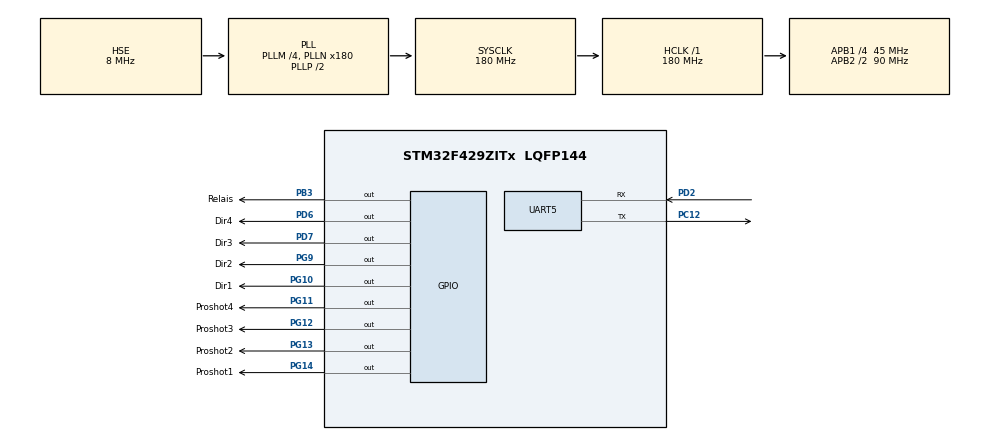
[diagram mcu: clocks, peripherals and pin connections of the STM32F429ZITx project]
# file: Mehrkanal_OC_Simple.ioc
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Mcu.Family=STM32F4
Mcu.Name=STM32F429ZITx
Mcu.Package=LQFP144
NVIC.PriorityGroup=NVIC_PRIORITYGROUP_4
NVIC.UART5_IRQn=true\:0\:0\:false\:false\:true\:true\:true\:true
PB3.GPIO_Label=Relais
PB3.Signal=GPIO_Output
PC12.Mode=Asynchronous
PC12.Signal=UART5_TX
PD2.Mode=Asynchronous
PD2.Signal=UART5_RX
PD6.GPIO_Label=Dir4
PD6.Signal=GPIO_Output
PD7.GPIO_Label=Dir3
PD7.Signal=GPIO_Output
PG10.GPIO_Label=Dir1
PG10.Signal=GPIO_Output
PG11.GPIO_Label=Proshot4
PG11.Signal=GPIO_Output
PG12.GPIO_Label=Proshot3
PG12.Signal=GPIO_Output
PG13.GPIO_Label=Proshot2
PG13.Signal=GPIO_Output
PG14.GPIO_Label=Proshot1
PG14.Signal=GPIO_Output
PG9.GPIO_Label=Dir2
PG9.Signal=GPIO_Output
PH0/OSC_IN.Mode=HSE-External-Oscillator
PH0/OSC_IN.Signal=RCC_OSC_IN
PH1/OSC_OUT.Mode=HSE-External-Oscillator
PH1/OSC_OUT.Signal=RCC_OSC_OUT
ProjectManager.HeapSize=0x200
ProjectManager.StackSize=0x400
ProjectManager.TargetToolchain=STM32CubeIDE
RCC.48MHZClocksFreq_Value=90000000
RCC.AHBFreq_Value=180000000
RCC.APB1CLKDivider=RCC_HCLK_DIV4
RCC.APB1Freq_Value=45000000
RCC.APB1TimFreq_Value=90000000
RCC.APB2CLKDivider=RCC_HCLK_DIV2
RCC.APB2Freq_Value=90000000
RCC.APB2TimFreq_Value=180000000
RCC.CortexFreq_Value=180000000
RCC.HCLKFreq_Value=180000000
RCC.HSE_VALUE=8000000
RCC.HSI_VALUE=16000000
RCC.LSE_VALUE=32768
RCC.PLLM=4
RCC.PLLN=180
RCC.PLLSourceVirtual=RCC_PLLSOURCE_HSE
RCC.SYSCLKFreq_VALUE=180000000
RCC.SYSCLKSource=RCC_SYSCLKSOURCE_PLLCLK
RCC.VCOOutputFreq_Value=360000000
UART5.VirtualMode=Asynchronous
board=custom

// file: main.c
/* USER CODE BEGIN Header */
/**
  ******************************************************************************
  * @file           : main.c
  * @brief          : Main program body
  ******************************************************************************
  * @attention
  *
  * Copyright (c) 2024 STMicroelectronics.
  * All rights reserved.
  *
  * This software is licensed under terms that can be found in the LICENSE file
  * in the root directory of this software component.
  * If no LICENSE file comes with this software, it is provided AS-IS.
  *
  *
  *
  *  long time passed, now I can control 4 motors with one timer!
  *  thanks to my son Julius, who helped me to optmize my code!
  *
  *
  *  OC Init and Impuls-Start are calculated with an EXCEL Worksheet,
  *  so no overlap should occur
  *
  *  JK    04.09.2024
  *
  ******************************************************************************
  */
/* USER CODE END Header */
#include "main.h"

UART_HandleTypeDef huart5;

void SystemClock_Config(void);
static void MX_GPIO_Init(void);
static void MX_UART5_Init(void);

/* USER CODE BEGIN 0 */

// don't use this here ...

char test;
uint8_t Rx_data[1];
uint8_t ready;

/* ----------------------------------------------------------------------------*/

struct Impuls
{
	uint32_t Impuls_Delta;        // for 125 ns
	uint32_t Impuls_Base;         // for 1 us
	uint32_t Impuls_Distance;    // for 4.04 us
};

struct Motor
{
	uint32_t Impuls_Start;
	uint32_t Impuls_Width_1;
	uint32_t Impuls_Width_2;
	uint32_t Impuls_Width_3;
	uint32_t Impuls_Width_4;
};

static const struct Impuls imp = {.Impuls_Delta=22,.Impuls_Base=181,.Impuls_Distance=732};
static struct Motor m1;
static struct Motor m2;
static struct Motor m3;
static struct Motor m4;

volatile GPIO_PinState Pintable[8] = {GPIO_PIN_RESET,GPIO_PIN_SET,GPIO_PIN_RESET,GPIO_PIN_SET,GPIO_PIN_RESET,GPIO_PIN_SET,GPIO_PIN_RESET,GPIO_PIN_SET};
volatile uint32_t Pulsetable_M1[8] = {0,0,0,0,0,0,0,0};
volatile uint32_t Pulsetable_M2[8] = {0,0,0,0,0,0,0,0};
volatile uint32_t Pulsetable_M3[8] = {0,0,0,0,0,0,0,0};
volatile uint32_t Pulsetable_M4[8] = {0,0,0,0,0,0,0,0};

volatile unsigned char OC_CH1_N = 0;
volatile unsigned char OC_CH2_N = 0;
volatile unsigned char OC_CH3_N = 0;
volatile unsigned char OC_CH4_N = 0;

// don't use this here ...

#ifdef __GNUC__
#define PUTCHAR_PROTOTYPE int __io_putchar(int ch)
#else
#define PUTCHAR_PROTOTYPE int fputc(int ch, FILE *f)
#endif

PUTCHAR_PROTOTYPE
{
   HAL_UART_Transmit(&huart5, (uint8_t *)&ch, 1, HAL_MAX_DELAY);
   return ch;
}

#ifdef __GNUC__
#define GETCHAR_PROTOTYPE int __io_getchar(void)
#else
#define GETCHAR_PROTOTYPE int fgetc(FILE *f)
#endif

GETCHAR_PROTOTYPE
{
  uint8_t ch = 0;

/* Clear the Overrun flag just before receiving the first character */
 __HAL_UART_CLEAR_OREFLAG(&huart5);

/* Wait for reception of a character on the USART RX line and echo this
* character on console */
 HAL_UART_Receive(&huart5, (uint8_t *)&ch, 1, HAL_MAX_DELAY);
 HAL_UART_Transmit(&huart5, (uint8_t *)&ch, 1, HAL_MAX_DELAY);
 return ch;
}

void setPulseTable(volatile uint32_t *table, const struct Motor * motor)
{
	table[0] = motor->Impuls_Start;
	table[1] = motor->Impuls_Start + imp.Impuls_Base + motor->Impuls_Width_1;
	table[2] = motor->Impuls_Start + imp.Impuls_Distance;
	table[3] = motor->Impuls_Start + imp.Impuls_Distance + imp.Impuls_Base + motor->Impuls_Width_2;
	table[4] = motor->Impuls_Start + 2 * imp.Impuls_Distance;
	table[5] = motor->Impuls_Start + 2 * imp.Impuls_Distance + imp.Impuls_Base + motor->Impuls_Width_3;
	table[6] = motor->Impuls_Start + 3 * imp.Impuls_Distance;
	table[7] = motor->Impuls_Start + 3 * imp.Impuls_Distance + imp.Impuls_Base + motor->Impuls_Width_4;

}

/* ------------------------------------------------------------------------------------------- */

/* USER CODE END 0 */

int main(void)
{

  /* MCU Configuration--------------------------------------------------------*/

  /* Reset of all peripherals, Initializes the Flash interface and the Systick. */
  HAL_Init();

  /* Configure the system clock */
  SystemClock_Config();

  /* Initialize all configured peripherals */
  MX_GPIO_Init();
  MX_UART5_Init();

  /* Infinite loop */
  /* USER CODE BEGIN WHILE */

  RCC->APB2ENR = RCC_APB2ENR_TIM1EN; // enable timer 1 in RCC
  TIM1->PSC = 0; //
  TIM1->EGR = TIM_EGR_UG; // update event to write prescaler shadow register
  TIM1->SR = 0; // clear interrupt flag set by the update event
  TIM1->ARR = 11584 - 1; // must be > CCR1 (fuer 64us)
  TIM1->CCR1 = 100 - 1;  // initial OC for motor1
  TIM1->CCR2 = 3010 - 1; // initial OC for motor2
  TIM1->CCR3 = 5820 - 1; // initial OC for motor3
  TIM1->CCR4 = 8630 - 1; // initial OC for motor4
  TIM1->DIER = TIM_DIER_UIE | TIM_DIER_CC4IE | TIM_DIER_CC3IE | TIM_DIER_CC2IE | TIM_DIER_CC1IE; // enable all CC and update interrupts
  NVIC_EnableIRQ(TIM1_CC_IRQn); // enable CC interrupt in NVIC
  NVIC_EnableIRQ(TIM1_UP_TIM10_IRQn); // enable update interrupt in NVIC

  // M1 runs 200
  // M2 runs 400
  // M3 runs 600
  // M4 runs 800

  m1.Impuls_Width_4 = 0 * imp.Impuls_Delta;
  m2.Impuls_Width_4 = 0 * imp.Impuls_Delta;
  m3.Impuls_Width_4 = 0 * imp.Impuls_Delta;
  m4.Impuls_Width_4 = 0 * imp.Impuls_Delta;

  m1.Impuls_Start   = 300;
  m1.Impuls_Width_1 =   0 * imp.Impuls_Delta;
  m1.Impuls_Width_2 =  12 * imp.Impuls_Delta;
  m1.Impuls_Width_3 =   8 * imp.Impuls_Delta;

  m2.Impuls_Start   = 3110;
  m2.Impuls_Width_1 =  1 * imp.Impuls_Delta;
  m2.Impuls_Width_2 =  9 * imp.Impuls_Delta;
  m2.Impuls_Width_3 =  0 * imp.Impuls_Delta;

  m3.Impuls_Start   = 5920;
  m3.Impuls_Width_1 =  2 * imp.Impuls_Delta;
  m3.Impuls_Width_2 =  5 * imp.Impuls_Delta;
  m3.Impuls_Width_3 =  8 * imp.Impuls_Delta;

  m4.Impuls_Start   = 8730;
  m4.Impuls_Width_1 =  3 * imp.Impuls_Delta;
  m4.Impuls_Width_2 =  2 * imp.Impuls_Delta;
  m4.Impuls_Width_3 =  0 * imp.Impuls_Delta;

  setPulseTable(Pulsetable_M1, &m1);
  setPulseTable(Pulsetable_M2, &m2);
  setPulseTable(Pulsetable_M3, &m3);
  setPulseTable(Pulsetable_M4, &m4);

  // don't use this here ...

//   printf("Test\r\n");

/*----------------------------------------------------------------------------------------- */

  TIM1->CNT = 0;
  TIM1->CR1 = TIM_CR1_CEN; // start timer

  // Dir set: turn left

  HAL_GPIO_WritePin(GPIOB,Relais_Pin,GPIO_PIN_SET);
  HAL_GPIO_WritePin(GPIOG,Dir1_Pin,GPIO_PIN_RESET);
  HAL_GPIO_WritePin(GPIOG,Dir2_Pin,GPIO_PIN_RESET);
  HAL_GPIO_WritePin(GPIOD,Dir3_Pin,GPIO_PIN_RESET);
  HAL_GPIO_WritePin(GPIOD,Dir4_Pin,GPIO_PIN_RESET);
  HAL_Delay(10000);
  HAL_GPIO_WritePin(GPIOB,Relais_Pin,GPIO_PIN_RESET);

  while (1)
  {
    /* USER CODE END WHILE */

  }
}

void SystemClock_Config(void)
{
  RCC_OscInitTypeDef RCC_OscInitStruct = {0};
  RCC_ClkInitTypeDef RCC_ClkInitStruct = {0};

  /** Configure the main internal regulator output voltage
  */
  __HAL_RCC_PWR_CLK_ENABLE();
  __HAL_PWR_VOLTAGESCALING_CONFIG(PWR_REGULATOR_VOLTAGE_SCALE1);

  /** Initializes the RCC Oscillators according to the specified parameters
  * in the RCC_OscInitTypeDef structure.
  */
  RCC_OscInitStruct.OscillatorType = RCC_OSCILLATORTYPE_HSE;
  RCC_OscInitStruct.HSEState = RCC_HSE_ON;
  RCC_OscInitStruct.PLL.PLLState = RCC_PLL_ON;
  RCC_OscInitStruct.PLL.PLLSource = RCC_PLLSOURCE_HSE;
  RCC_OscInitStruct.PLL.PLLM = 4;
  RCC_OscInitStruct.PLL.PLLN = 180;
  RCC_OscInitStruct.PLL.PLLP = RCC_PLLP_DIV2;
  RCC_OscInitStruct.PLL.PLLQ = 4;
  if (HAL_RCC_OscConfig(&RCC_OscInitStruct) != HAL_OK)
  {
    Error_Handler();
  }

  /** Activate the Over-Drive mode
  */
  if (HAL_PWREx_EnableOverDrive() != HAL_OK)
  {
    Error_Handler();
  }

  /** Initializes the CPU, AHB and APB buses clocks
  */
  RCC_ClkInitStruct.ClockType = RCC_CLOCKTYPE_HCLK|RCC_CLOCKTYPE_SYSCLK
                              |RCC_CLOCKTYPE_PCLK1|RCC_CLOCKTYPE_PCLK2;
  RCC_ClkInitStruct.SYSCLKSource = RCC_SYSCLKSOURCE_PLLCLK;
  RCC_ClkInitStruct.AHBCLKDivider = RCC_SYSCLK_DIV1;
  RCC_ClkInitStruct.APB1CLKDivider = RCC_HCLK_DIV4;
  RCC_ClkInitStruct.APB2CLKDivider = RCC_HCLK_DIV2;

  if (HAL_RCC_ClockConfig(&RCC_ClkInitStruct, FLASH_LATENCY_5) != HAL_OK)
  {
    Error_Handler();
  }
}

static void MX_UART5_Init(void)
{

  huart5.Instance = UART5;
  huart5.Init.BaudRate = 115200;
  huart5.Init.WordLength = UART_WORDLENGTH_8B;
  huart5.Init.StopBits = UART_STOPBITS_1;
  huart5.Init.Parity = UART_PARITY_NONE;
  huart5.Init.Mode = UART_MODE_TX_RX;
  huart5.Init.HwFlowCtl = UART_HWCONTROL_NONE;
  huart5.Init.OverSampling = UART_OVERSAMPLING_16;
  if (HAL_UART_Init(&huart5) != HAL_OK)
  {
    Error_Handler();
  }

}

static void MX_GPIO_Init(void)
{
  GPIO_InitTypeDef GPIO_InitStruct = {0};

  /* GPIO Ports Clock Enable */
  __HAL_RCC_GPIOH_CLK_ENABLE();
  __HAL_RCC_GPIOC_CLK_ENABLE();
  __HAL_RCC_GPIOD_CLK_ENABLE();
  __HAL_RCC_GPIOG_CLK_ENABLE();
  __HAL_RCC_GPIOB_CLK_ENABLE();

  /*Configure GPIO pin Output Level */
  HAL_GPIO_WritePin(GPIOD, Dir4_Pin|Dir3_Pin, GPIO_PIN_RESET);

  /*Configure GPIO pin Output Level */
  HAL_GPIO_WritePin(GPIOG, Dir2_Pin|Dir1_Pin|Proshot4_Pin|Proshot3_Pin
                          |Proshot2_Pin|Proshot1_Pin, GPIO_PIN_RESET);

  /*Configure GPIO pin Output Level */
  HAL_GPIO_WritePin(Relais_GPIO_Port, Relais_Pin, GPIO_PIN_RESET);

  /*Configure GPIO pins : Dir4_Pin Dir3_Pin */
  GPIO_InitStruct.Pin = Dir4_Pin|Dir3_Pin;
  GPIO_InitStruct.Mode = GPIO_MODE_OUTPUT_PP;
  GPIO_InitStruct.Pull = GPIO_NOPULL;
  GPIO_InitStruct.Speed = GPIO_SPEED_FREQ_LOW;
  HAL_GPIO_Init(GPIOD, &GPIO_InitStruct);

  /*Configure GPIO pins : Dir2_Pin Dir1_Pin Proshot4_Pin Proshot3_Pin
                           Proshot2_Pin Proshot1_Pin */
  GPIO_InitStruct.Pin = Dir2_Pin|Dir1_Pin|Proshot4_Pin|Proshot3_Pin
                          |Proshot2_Pin|Proshot1_Pin;
  GPIO_InitStruct.Mode = GPIO_MODE_OUTPUT_PP;
  GPIO_InitStruct.Pull = GPIO_NOPULL;
  GPIO_InitStruct.Speed = GPIO_SPEED_FREQ_LOW;
  HAL_GPIO_Init(GPIOG, &GPIO_InitStruct);

  /*Configure GPIO pin : Relais_Pin */
  GPIO_InitStruct.Pin = Relais_Pin;
  GPIO_InitStruct.Mode = GPIO_MODE_OUTPUT_PP;
  GPIO_InitStruct.Pull = GPIO_NOPULL;
  GPIO_InitStruct.Speed = GPIO_SPEED_FREQ_LOW;
  HAL_GPIO_Init(Relais_GPIO_Port, &GPIO_InitStruct);

}

/* USER CODE BEGIN 4 */

// don't use this here ...

void HAL_UART_RxCpltCallback(UART_HandleTypeDef *huart)
{
	test = Rx_data[0];
	ready = 1;
	HAL_UART_Receive_IT (&huart5, Rx_data, 1);

}

void TIM1_UP_TIM10_IRQHandler(void)
{
	TIM1->SR = 0; // clear interrupt flags before proceeding
}

// interrupt handler for TIM1 capture/compare event

void TIM1_CC_IRQHandler(void)
{
	uint32_t sr = TIM1->SR; // read interrupt flags
   	TIM1->SR = 0; // clear interrupt flags before proceeding
   	if(sr & TIM_SR_CC1IF)    // Motor 1 will be serviced , CC1 triggered
   	{
   	   HAL_GPIO_WritePin(GPIOG,Proshot1_Pin,Pintable[OC_CH1_N]);
	   TIM1->CCR1 = Pulsetable_M1[OC_CH1_N];
	   OC_CH1_N++;
	   if(OC_CH1_N == 8)
	   {
		   OC_CH1_N = 0;
	   }
   	}
	if(sr & TIM_SR_CC2IF)    // Motor 2 will be serviced , CC2 triggered
   	{
	   HAL_GPIO_WritePin(GPIOG,Proshot2_Pin,Pintable[OC_CH2_N]);
	   TIM1->CCR2 = Pulsetable_M2[OC_CH2_N];
	   OC_CH2_N++;
	   if(OC_CH2_N == 8)
	   {
		   OC_CH2_N = 0;
	   }
   	}

	if(sr & TIM_SR_CC3IF)    // Motor 3 will be serviced , CC3 triggered
	{
       HAL_GPIO_WritePin(GPIOG,Proshot3_Pin,Pintable[OC_CH3_N]);
	   TIM1->CCR3 = Pulsetable_M3[OC_CH3_N];
	   OC_CH3_N++;
	   if(OC_CH3_N == 8)
	   {
		   OC_CH3_N = 0;
	   }
	}

	if(sr & TIM_SR_CC4IF)    // Motor 4 will be serviced , CC4 triggered
	{
		HAL_GPIO_WritePin(GPIOG,Proshot4_Pin,Pintable[OC_CH4_N]);
		TIM1->CCR4 = Pulsetable_M4[OC_CH4_N];
		OC_CH4_N++;
		if(OC_CH4_N == 8)
		{
		  OC_CH4_N = 0;
	    }
	}

}

/* USER CODE END 4 */

void Error_Handler(void)
{
  __disable_irq();
  while (1)
  {
  }
}
